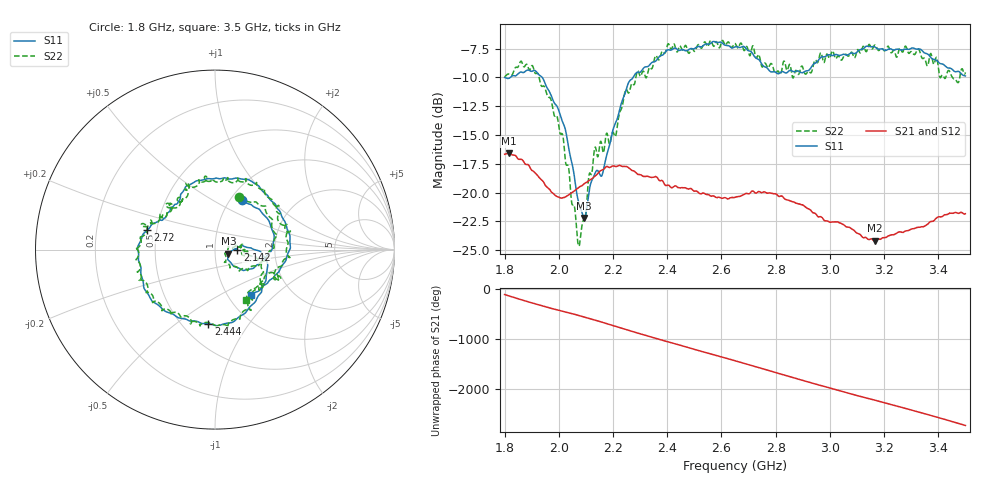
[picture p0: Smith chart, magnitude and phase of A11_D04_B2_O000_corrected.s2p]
! Created with skrf 1.9.0 (http://scikit-rf.org).
# Hz S RI R 50.0
!freq ReS11 ImS11 ReS21 ImS21 ReS12 ImS12 ReS22 ImS22
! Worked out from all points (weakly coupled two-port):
!   1601 points, 1.8 GHz to 3.5 GHz, reference 50 ohm
!   highest |S21| = -16.59 dB at 1.816 GHz (marker M1); lowest = -24.2 dB at 3.165 GHz (marker M2)
!   lowest |S11| = -22.2 dB at 2.093 GHz (marker M3), VSWR 1.17, Z = 58 - j2.62 ohm
!   |S11| at or under -10 dB: start of sweep to 1.821 GHz; 1.939 GHz to 2.274 GHz (335.4 MHz wide, 15.9 % of centre)
!   |S22| runs from -24.7 to -6.8 dB; largest |S21 - S12| = 0.0024
!   S11 on the Smith chart (normalised r, x): 1.8 GHz: 1.12, +0.69; 2.142 GHz: 1.29, -0.00; 2.444 GHz: 0.67, -0.66; 2.72 GHz: 0.44, +0.11; 3.5 GHz: 1.27, -0.71
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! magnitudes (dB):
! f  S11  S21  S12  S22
! 1.8 GHz  -10.0  -16.7  -16.7  -9.9
! 1.816 GHz  -10.1  -16.6  -16.6  -9.7
! 1.902 GHz  -9.5  -18.1  -18.0  -9.0
! 1.967 GHz  -11.3  -19.7  -19.8  -11.7
! 2.014 GHz  -13.8  -20.4  -20.5  -14.9
! 2.071 GHz  -20.6  -19.6  -19.6  -24.5
! 2.084 GHz  -21.6  -19.4  -19.4  -23.1
! 2.093 GHz  -22.2  -19.2  -19.3  -22.4
! 2.113 GHz  -19.6  -18.9  -18.9  -18.3
! 2.142 GHz  -18.1  -18.4  -18.4  -16.8
! 2.161 GHz  -18.4  -18.0  -17.9  -16.3
! 2.209 GHz  -14.0  -17.7  -17.7  -15.1
! 2.259 GHz  -10.4  -17.9  -17.9  -11.3
! 2.367 GHz  -8.3  -18.8  -18.8  -8.5
! 2.444 GHz  -7.7  -19.6  -19.6  -7.4
! 2.65 GHz  -7.4  -20.4  -20.4  -7.1
! 2.72 GHz  -8.1  -19.9  -19.8  -7.5
! 2.802 GHz  -9.6  -20.1  -20.1  -9.6
! 2.934 GHz  -9.0  -21.7  -21.6  -9.5
! 3.165 GHz  -7.3  -24.2  -24.1  -7.2
! 3.217 GHz  -7.5  -23.7  -23.7  -7.4
! 3.5 GHz  -9.9  -21.8  -21.8  -9.6
